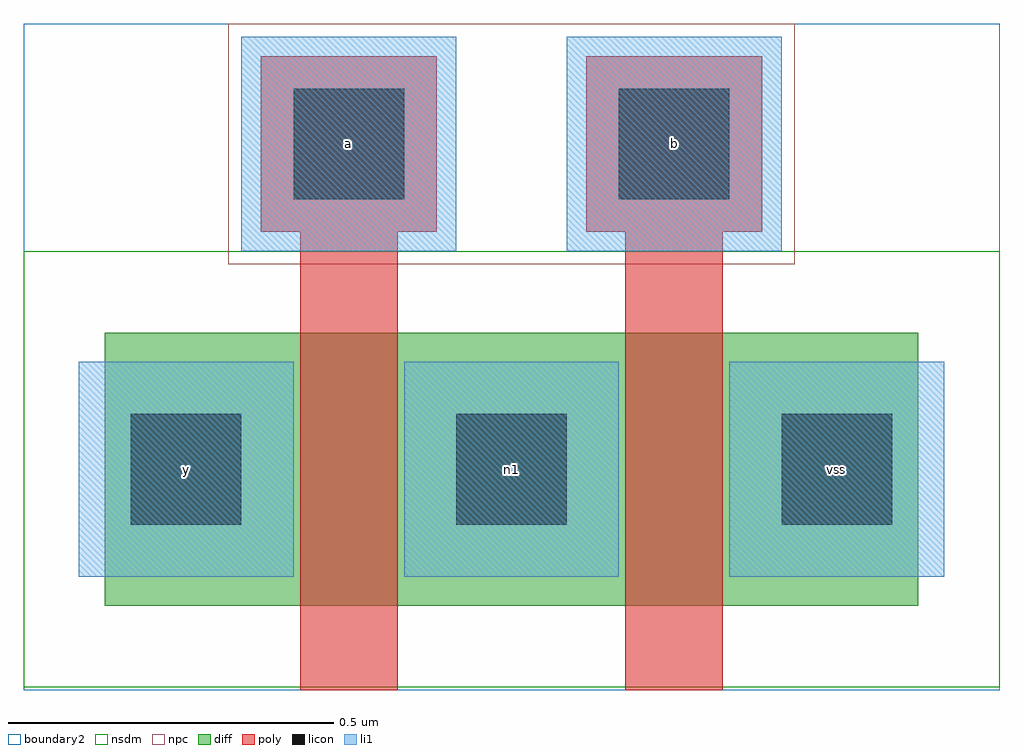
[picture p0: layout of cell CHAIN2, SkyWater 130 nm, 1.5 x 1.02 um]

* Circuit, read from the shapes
.subckt CHAIN2 a b n1 vss y
XM1 n1 a y VSUBS sky130_fd_pr__nfet_01v8 w=0.42 l=0.15
XM2 vss b n1 VSUBS sky130_fd_pr__nfet_01v8 w=0.42 l=0.15
.ends

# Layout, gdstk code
import gdstk
lib = gdstk.Library(unit=1e-6, precision=1e-09)
def R(c, l, rs):  # rectangles x0, y0, x1, y1
    for r in rs: c.add(gdstk.rectangle(r[:2], r[2:], *l))
def A(c, l, x, y, w, h, nx, ny, dx, dy):  # array of equal rectangles
    R(c, l, [(x+i*dx, y+j*dy, x+i*dx+w, y+j*dy+h) for i in range(nx) for j in range(ny)])
def P(c, l, *ps):  # polygons
    for p in ps: c.add(gdstk.Polygon(p, *l))
diff = (65, 20)
poly = (66, 20)
licon = (66, 44)
li1 = (67, 20)
nsdm = (93, 44)
npc = (95, 20)
boundary2 = (236, 0)

chain2 = lib.new_cell('CHAIN2')
R(chain2, diff, [(0,0,1.25,0.42)])
P(chain2, poly, [(0.3,-0.13),(0.3,0.575),(0.24,0.575),(0.24,0.845),(0.51,0.845),(0.51,0.575),(0.45,0.575),(0.45,-0.13)],
  [(0.8,-0.13),(0.8,0.575),(0.74,0.575),(0.74,0.845),(1.01,0.845),(1.01,0.575),(0.95,0.575),(0.95,-0.13)])
A(chain2, licon, 0.04, 0.125, 0.17, 0.17, 3, 1, 0.5, 0)
R(chain2, licon, [(0.29,0.625,0.46,0.795), (0.79,0.625,0.96,0.795)])
A(chain2, li1, -0.04, 0.045, 0.33, 0.33, 3, 1, 0.5, 0)
R(chain2, li1, [(0.21,0.545,0.54,0.875), (0.71,0.545,1.04,0.875)])
R(chain2, nsdm, [(-0.125,-0.125,1.375,0.545)])
R(chain2, npc, [(0.19,0.525,1.06,0.895)])
R(chain2, boundary2, [(-0.125,-0.13,1.375,0.895)])
chain2.add(gdstk.Label('y', (0.125,0.21), layer=67, texttype=5))
chain2.add(gdstk.Label('n1', (0.625,0.21), layer=67, texttype=5))
chain2.add(gdstk.Label('vss', (1.125,0.21), layer=67, texttype=5))
chain2.add(gdstk.Label('a', (0.375,0.71), layer=67, texttype=5))
chain2.add(gdstk.Label('b', (0.875,0.71), layer=67, texttype=5))

lib.write_gds('CHAIN2.gds')
